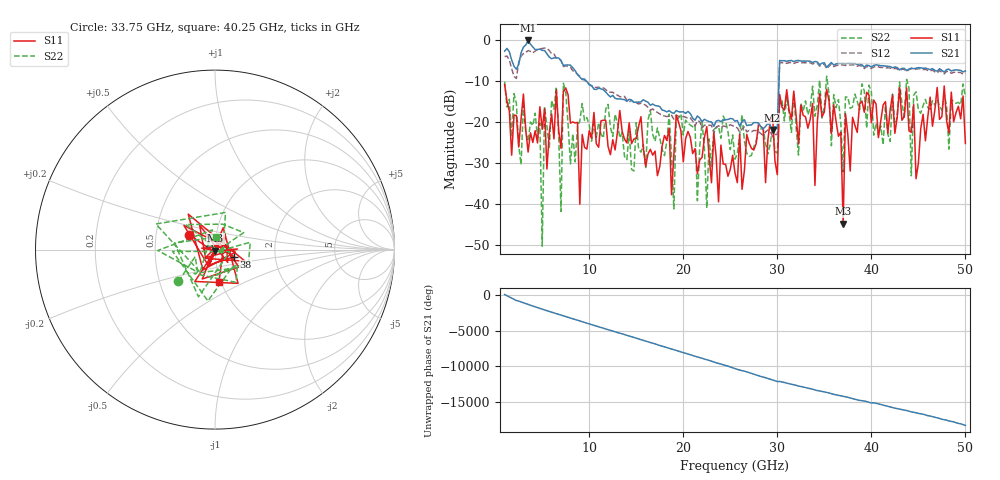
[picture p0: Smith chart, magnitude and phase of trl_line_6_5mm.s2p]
# GHz S RI R 50.0
!freq ReS11 ImS11 ReS21 ImS21 ReS12 ImS12 ReS22 ImS22
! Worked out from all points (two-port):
!   197 points, 1 GHz to 50 GHz, reference 50 ohm
!   highest |S21| = -0.21 dB at 3.5 GHz (marker M1); lowest = -22.0 dB at 29.5 GHz (marker M2)
!   |S21| within 3 dB of the highest: start of sweep to 1.532 GHz; 2.753 GHz to 5.425 GHz (2.672 GHz wide, 65.4 % of centre)
!   lowest |S11| = -44.9 dB at 37 GHz (marker M3), VSWR 1.01, Z = 50.3 - j0.505 ohm
!   |S11| at or under -10 dB: start of sweep to end of sweep
!   |S22| runs from -50.3 to -8.9 dB; largest |S21 - S12| = 1.5
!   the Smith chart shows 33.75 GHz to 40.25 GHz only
!   S11 on the Smith chart (normalised r, x): 33.75 GHz: 0.74, +0.13; 38 GHz: 1.23, -0.10; 40.25 GHz: 0.98, -0.37
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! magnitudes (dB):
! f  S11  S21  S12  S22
! 1 GHz  -10.9  -2.8  -4.1  -10.2
! 3.5 GHz  -27.4  -0.2  -2.7  -24.8
! 4.75 GHz  -16.4  -2.3  -2.3  -20.4
! 5 GHz  -21.9  -2.6  -2.2  -50.3
! 5.25 GHz  -16.8  -2.7  -2.0  -16.4
! 6.5 GHz  -12.3  -4.4  -4.5  -11.5
! 7 GHz  -26.5  -5.1  -5.2  -41.9
! 7.25 GHz  -12.7  -6.3  -6.6  -10.6
! 9.25 GHz  -23.1  -9.7  -9.6  -15.6
! 17.5 GHz  -30.9  -16.3  -18.1  -23.9
! 25.5 GHz  -32.5  -19.9  -21.3  -29.1
! 29.5 GHz  -18.7  -22.0  -23.7  -21.2
! 33.75 GHz  -15.6  -5.6  -5.9  -11.4
! 34 GHz  -35.5  -5.3  -5.7  -18.7
! 34.5 GHz  -13.2  -6.1  -6.5  -9.9
! 36.75 GHz  -22.6  -5.8  -6.2  -20.3
! 37 GHz  -44.9  -5.8  -6.2  -32.2
! 37.25 GHz  -18.0  -5.9  -6.3  -14.0
! 38 GHz  -18.9  -5.8  -6.2  -16.4
! 40.25 GHz  -14.7  -6.3  -6.7  -23.3
! 42 GHz  -17.1  -6.6  -6.9  -24.8
! 50 GHz  -25.3  -7.6  -8.1  -14.0
